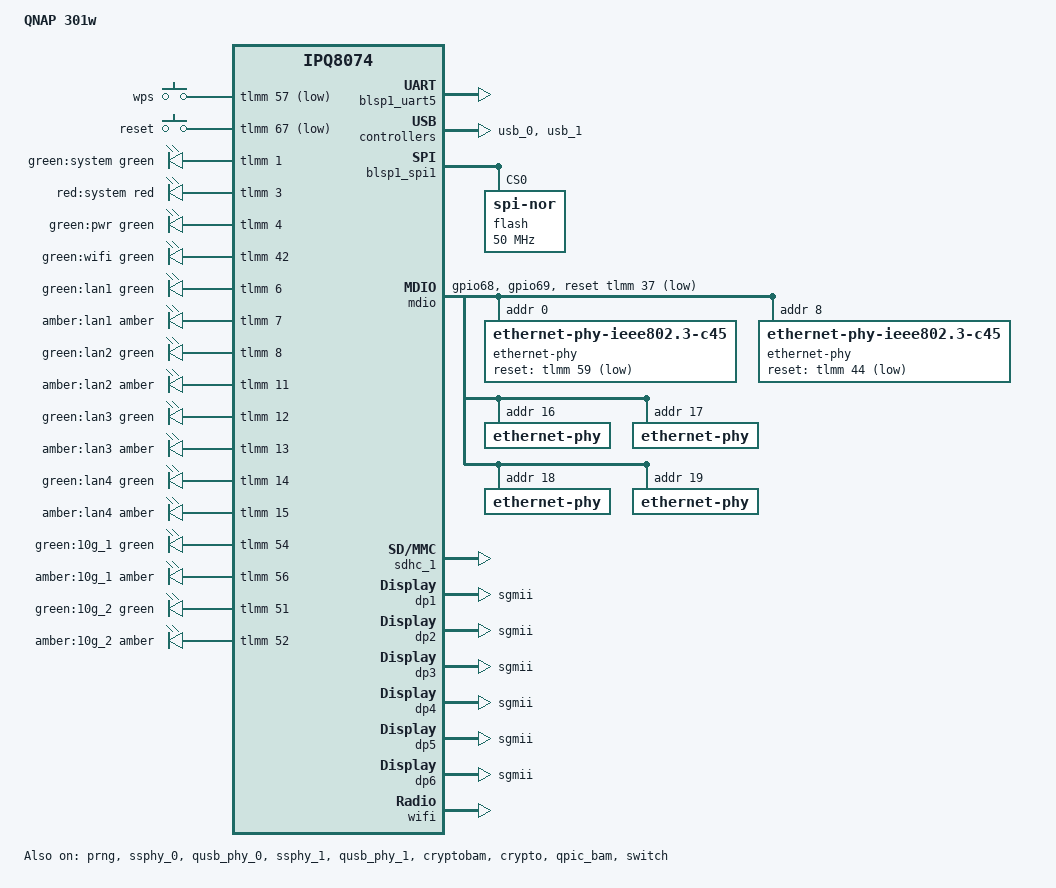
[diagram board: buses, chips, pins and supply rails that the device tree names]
// SPDX-License-Identifier: GPL-2.0-or-later OR MIT
/* Copyright (c) 2021, Dirk Buchwalder <buchwalder@posteo.de> */

/dts-v1/;

#include "ipq8074.dtsi"
#include "ipq8074-hk-cpu.dtsi"
#include "ipq8074-ess.dtsi"
#include <dt-bindings/gpio/gpio.h>
#include <dt-bindings/input/input.h>
#include <dt-bindings/leds/common.h>

/ {
	#address-cells = <2>;
	#size-cells = <2>;

	model = "QNAP 301w";
	compatible = "qnap,301w", "qcom,ipq8074";
	interrupt-parent = <&intc>;

	aliases {
		serial0 = &blsp1_uart5;
		/*
		 * Aliases as required by u-boot
		 * to patch MAC addresses
		 */
		led-boot = &led_system_red;
		led-failsafe = &led_system_red;
		led-running = &led_pwr_green;
		led-upgrade = &led_system_red;
		ethernet0 = &dp1;
		ethernet1 = &dp2;
		ethernet2 = &dp3;
		ethernet3 = &dp4;
		ethernet4 = &dp5;
		ethernet5 = &dp6;
		label-mac-device = &dp1;
	};

	chosen {
		stdout-path = "serial0:115200n8";
	};

	keys {
		compatible = "gpio-keys";

		wps {
			label = "wps";
			gpios = <&tlmm 57 GPIO_ACTIVE_LOW>;
			linux,code = <KEY_WPS_BUTTON>;
		};

		reset {
			label = "reset";
			gpios = <&tlmm 67 GPIO_ACTIVE_LOW>;
			linux,code = <KEY_RESTART>;
		};
	};

	leds {
		compatible = "gpio-leds";

		led_system_green: system-green {
			label = "green:system";
			gpios = <&tlmm 1 GPIO_ACTIVE_HIGH>;
			color = <LED_COLOR_ID_GREEN>;
		};

		led_system_red: system-red {
			label = "red:system";
			gpios = <&tlmm 3 GPIO_ACTIVE_HIGH>;
			color = <LED_COLOR_ID_RED>;
		};

		led_pwr_green: pwr-green {
			label = "green:pwr";
			gpios = <&tlmm 4 GPIO_ACTIVE_HIGH>;
			color = <LED_COLOR_ID_GREEN>;
		};

		led_wifi_green: wifi-green {
			label = "green:wifi";
			gpios = <&tlmm 42 GPIO_ACTIVE_HIGH>;
			color = <LED_COLOR_ID_GREEN>;
		};

		led_lan1_green: lan1-green {
			label = "green:lan1";
			gpios = <&tlmm 6 GPIO_ACTIVE_HIGH>;
			color = <LED_COLOR_ID_GREEN>;
		};

		led_lan1_amber: lan1-amber {
			label = "amber:lan1";
			gpios = <&tlmm 7 GPIO_ACTIVE_HIGH>;
			color = <LED_COLOR_ID_AMBER>;
		};

		led_lan2_green: lan2-green {
			label = "green:lan2";
			gpios = <&tlmm 8 GPIO_ACTIVE_HIGH>;
			color = <LED_COLOR_ID_GREEN>;
		};

		led_lan2_amber: lan2-amber {
			label = "amber:lan2";
			gpios = <&tlmm 11 GPIO_ACTIVE_HIGH>;
			color = <LED_COLOR_ID_AMBER>;
		};

		led_lan3_green: lan3-green {
			label = "green:lan3";
			gpios = <&tlmm 12 GPIO_ACTIVE_HIGH>;
			color = <LED_COLOR_ID_GREEN>;
		};

		led_lan3_amber: lan3-amber {
			label = "amber:lan3";
			gpios = <&tlmm 13 GPIO_ACTIVE_HIGH>;
			color = <LED_COLOR_ID_AMBER>;
		};

		led_lan4_green: lan4-green {
			label = "green:lan4";
			gpios = <&tlmm 14 GPIO_ACTIVE_HIGH>;
			color = <LED_COLOR_ID_GREEN>;
		};

		led_lan4_amber: lan4-amber {
			label = "amber:lan4";
			gpios = <&tlmm 15 GPIO_ACTIVE_HIGH>;
			color = <LED_COLOR_ID_AMBER>;
		};

		led_10g_1_green: 10g_1-green {
			label = "green:10g_1";
			gpios = <&tlmm 54 GPIO_ACTIVE_HIGH>;
			color = <LED_COLOR_ID_GREEN>;
		};

		led_10g_1_amber: 10g_1-amber {
			label = "amber:10g_1";
			gpios = <&tlmm 56 GPIO_ACTIVE_HIGH>;
			color = <LED_COLOR_ID_AMBER>;
		};

		led_10g_2_green: 10g_2-green {
			label = "green:10g_2";
			gpios = <&tlmm 51 GPIO_ACTIVE_HIGH>;
			color = <LED_COLOR_ID_GREEN>;
		};

		led_10g_2_amber: 10g_2-amber {
			label = "amber:10g_2";
			gpios = <&tlmm 52 GPIO_ACTIVE_HIGH>;
			color = <LED_COLOR_ID_AMBER>;
		};
	};
};

&tlmm {

	mdio_pins: mdio-pins {
		mdc {
			pins = "gpio68";
			function = "mdc";
			drive-strength = <8>;
			bias-pull-up;
		};

		mdio {
			pins = "gpio69";
			function = "mdio";
			drive-strength = <8>;
			bias-pull-up;
		};
	};

	button_pins: button_pins {
		wps_button {
			pins = "gpio57";
			function = "gpio";
			drive-strength = <8>;
			bias-pull-up;
		};

		rst_button {
			pins = "gpio67";
			function = "gpio";
			drive-strength = <8>;
			bias-pull-up;
		};
	};

	qpic_pins: qpic-pins {
			status = "disabled";
			/*disabling qpic-pins due to the leds are using all of the gpios*/
	};

	leds_pins: leds_pinmux {
		led_pwr_green {
			pins = "gpio4";
			function = "gpio";
			drive-strength = <8>;
			bias-pull-down;
		};
		led_system_green {
			pins = "gpio1";
			function = "gpio";
			drive-strength = <8>;
			bias-pull-down;
		};
		led_system_red {
			pins = "gpio3";
			function = "gpio";
			drive-strength = <8>;
			bias-pull-down;
		};
		led_lan1_green {
			pins = "gpio6";
			function = "gpio";
			drive-strength = <8>;
			bias-pull-down;
		};
		led_lan1_amber {
			pins = "gpio7";
			function = "gpio";
			drive-strength = <8>;
			bias-pull-down;
		}; 
		led_lan2_green {
			pins = "gpio8";
			function = "gpio";
			drive-strength = <8>;
			bias-pull-down;
		};
		led_lan2_amber {
			pins = "gpio11";
			function = "gpio";
			drive-strength = <8>;
			bias-pull-down;
		};
		led_lan3_green {
			pins = "gpio12";
			function = "gpio";
			drive-strength = <8>;
			bias-pull-down;
		};
		led_lan3_amber {
			pins = "gpio13";
			function = "gpio";
			drive-strength = <8>;
			bias-pull-down;
		};
		led_lan4_green {
			pins = "gpio14";
			function = "gpio";
			drive-strength = <8>;
			bias-pull-down;
		};
		led_lan4_amber {
			pins = "gpio15";
			function = "gpio";
			drive-strength = <8>;
			bias-pull-down;
		};
		led_10g_1_green {
			pins = "gpio54";
			function = "gpio";
			drive-strength = <8>;
			bias-pull-down;
		};
		led_10g_1_amber {
			pins = "gpio56";
			function = "gpio";
			drive-strength = <8>;
			bias-pull-down;
		};
		led_10g_2_green {
			pins = "gpio51";
			function = "gpio";
			drive-strength = <8>;
			bias-pull-down;
		};
		led_10g_2_amber {
			pins = "gpio52";
			function = "gpio";
			drive-strength = <8>;
			bias-pull-down;
		};
		led_wifi_green {
			pins = "gpio42";
			function = "gpio";
			drive-strength = <8>;
			bias-pull-down;
		};
    };
};

&blsp1_uart5 {
	status = "okay";
};

&prng {
	status = "okay";
};

&ssphy_0 {
	status = "okay";
};

&qusb_phy_0 {
	status = "okay";
};

&ssphy_1 {
	status = "okay";
};

&qusb_phy_1 {
	status = "okay";
};

&usb_0 {
	status = "okay";
};

&usb_1 {
	status = "okay";
};

&cryptobam {
	status = "okay";
};

&crypto {
	status = "okay";
};

&qpic_bam {
	status = "okay";
};

&blsp1_spi1 { /* BLSP1 QUP1 */
	pinctrl-0 = <&spi_0_pins>;
	pinctrl-names = "default";
	cs-gpios = <0>;
	status = "okay";

	flash@0 {
		#address-cells = <1>;
		#size-cells = <1>;
		reg = <0>;
		compatible = "jedec,spi-nor";
		spi-max-frequency = <50000000>;

		partitions {
			compatible = "qcom,smem-part";
		};
	};
};

&mdio {
	status = "okay";

	pinctrl-0 = <&mdio_pins>;
	pinctrl-names = "default";
	reset-gpios = <&tlmm 37 GPIO_ACTIVE_LOW>;

	ethernet-phy@0 {
		compatible ="ethernet-phy-ieee802.3-c45";
		reg = <0>;
		reset-gpios = <&tlmm 59 GPIO_ACTIVE_LOW>;
	};

	ethernet-phy@8 {
		compatible ="ethernet-phy-ieee802.3-c45";
		reg = <8>;
		reset-gpios = <&tlmm 44 GPIO_ACTIVE_LOW>;
	};

	ethernet-phy@16 {
		reg = <16>;
	};

	ethernet-phy@17 {
		reg = <17>;
	};

	ethernet-phy@18 {
		reg = <18>;
	};

	ethernet-phy@19 {
		reg = <19>;
	};

};

&sdhc_1 {
		/* According to the stock dts from the QNAP gpl drop
		 * the emmc has a problem with the hs400 > hs200 speed switch.
		 * But at the momment it doesn't seems possible to run that card in hs200 mode,
		 * it doesn't get recognized without the hs400 mode.
		 * Unfortunately it's not stable in hs400 mode so reduce the speed to mmc highspeed.
		*/
		no-1-8-v;
		cap-sd-highspeed;
		cap-mmc-highspeed;
		max-frequency   = <5000000>;
		vqmmc-supply = <&ldo11>;
		status = "okay";
};

&switch {
	status = "okay";

	switch_cpu_bmp = <0x1>;  /* cpu port bitmap */
	switch_lan_bmp = <0x3e>; /* lan port bitmap */
	switch_wan_bmp = <0xc0>; /* wan port bitmap */
	switch_mac_mode = <0x0>; /* mac mode for uniphy instance0*/
	switch_mac_mode1 = <0xd>; /* mac mode for uniphy instance1*/
	switch_mac_mode2 = <0xd>; /* mac mode for uniphy instance2*/
	bm_tick_mode = <0>; /* bm tick mode */
	tm_tick_mode = <0>; /* tm tick mode */

	qcom,port_phyinfo {
		port@0 {
			port_id = <1>;
			phy_address = <16>;
		};
		port@1 {
			port_id = <2>;
			phy_address = <17>;
		};
		port@2 {
			port_id = <3>;
			phy_address = <18>;
		};
		port@3 {
			port_id = <4>;
			phy_address = <19>;
		};
		port@4 {
			port_id = <5>;
			phy_address = <8>;
			compatible = "ethernet-phy-ieee802.3-c45";
			ethernet-phy-ieee802.3-c45;
		};
		port@5 {
			port_id = <6>;
			phy_address = <0>;
			compatible = "ethernet-phy-ieee802.3-c45";
			ethernet-phy-ieee802.3-c45;
		};
	};

	port_scheduler_resource {
		port@0 {
			port_id = <0>;
			ucast_queue = <0 143>;
			mcast_queue = <256 271>;
			l0sp = <0 35>;
			l0cdrr = <0 47>;
			l0edrr = <0 47>;
			l1cdrr = <0 7>;
			l1edrr = <0 7>;
		};
		port@1 {
			port_id = <1>;
			ucast_queue = <144 159>;
			mcast_queue = <272 275>;
			l0sp = <36 39>;
			l0cdrr = <48 63>;
			l0edrr = <48 63>;
			l1cdrr = <8 11>;
			l1edrr = <8 11>;
		};
		port@2 {
			port_id = <2>;
			ucast_queue = <160 175>;
			mcast_queue = <276 279>;
			l0sp = <40 43>;
			l0cdrr = <64 79>;
			l0edrr = <64 79>;
			l1cdrr = <12 15>;
			l1edrr = <12 15>;
		};
		port@3 {
			port_id = <3>;
			ucast_queue = <176 191>;
			mcast_queue = <280 283>;
			l0sp = <44 47>;
			l0cdrr = <80 95>;
			l0edrr = <80 95>;
			l1cdrr = <16 19>;
			l1edrr = <16 19>;
		};
		port@4 {
			port_id = <4>;
			ucast_queue = <192 207>;
			mcast_queue = <284 287>;
			l0sp = <48 51>;
			l0cdrr = <96 111>;
			l0edrr = <96 111>;
			l1cdrr = <20 23>;
			l1edrr = <20 23>;
		};
		port@5 {
			port_id = <5>;
			ucast_queue = <208 223>;
			mcast_queue = <288 291>;
			l0sp = <52 55>;
			l0cdrr = <112 127>;
			l0edrr = <112 127>;
			l1cdrr = <24 27>;
			l1edrr = <24 27>;
		};
		port@6 {
			port_id = <6>;
			ucast_queue = <224 239>;
			mcast_queue = <292 295>;
			l0sp = <56 59>;
			l0cdrr = <128 143>;
			l0edrr = <128 143>;
			l1cdrr = <28 31>;
			l1edrr = <28 31>;
		};
		port@7 {
			port_id = <7>;
			ucast_queue = <240 255>;
			mcast_queue = <296 299>;
			l0sp = <60 63>;
			l0cdrr = <144 159>;
			l0edrr = <144 159>;
			l1cdrr = <32 35>;
			l1edrr = <32 35>;
		};
	};
	port_scheduler_config {
		port@0 {
			port_id = <0>;
			l1scheduler {
				group@0 {
					sp = <0 1>; /*L0 SPs*/
					/*cpri cdrr epri edrr*/
					cfg = <0 0 0 0>;
				};
			};
			l0scheduler {
				group@0 {
					/*unicast queues*/
					ucast_queue = <0 4 8>;
					/*multicast queues*/
					mcast_queue = <256 260>;
					/*sp cpri cdrr epri edrr*/
					cfg = <0 0 0 0 0>;
				};
				group@1 {
					ucast_queue = <1 5 9>;
					mcast_queue = <257 261>;
					cfg = <0 1 1 1 1>;
				};
				group@2 {
					ucast_queue = <2 6 10>;
					mcast_queue = <258 262>;
					cfg = <0 2 2 2 2>;
				};
				group@3 {
					ucast_queue = <3 7 11>;
					mcast_queue = <259 263>;
					cfg = <0 3 3 3 3>;
				};
			};
		};
		port@1 {
			port_id = <1>;
			l1scheduler {
				group@0 {
					sp = <36>;
					cfg = <0 8 0 8>;
				};
				group@1 {
					sp = <37>;
					cfg = <1 9 1 9>;
				};
			};
			l0scheduler {
				group@0 {
					ucast_queue = <144>;
					ucast_loop_pri = <16>;
					mcast_queue = <272>;
					mcast_loop_pri = <4>;
					cfg = <36 0 48 0 48>;
				};
			};
		};
		port@2 {
			port_id = <2>;
			l1scheduler {
				group@0 {
					sp = <40>;
					cfg = <0 12 0 12>;
				};
				group@1 {
					sp = <41>;
					cfg = <1 13 1 13>;
				};
			};
			l0scheduler {
				group@0 {
					ucast_queue = <160>;
					ucast_loop_pri = <16>;
					mcast_queue = <276>;
					mcast_loop_pri = <4>;
					cfg = <40 0 64 0 64>;
				};
			};
		};
		port@3 {
			port_id = <3>;
			l1scheduler {
				group@0 {
					sp = <44>;
					cfg = <0 16 0 16>;
				};
				group@1 {
					sp = <45>;
					cfg = <1 17 1 17>;
				};
			};
			l0scheduler {
				group@0 {
					ucast_queue = <176>;
					ucast_loop_pri = <16>;
					mcast_queue = <280>;
					mcast_loop_pri = <4>;
					cfg = <44 0 80 0 80>;
				};
			};
		};
		port@4 {
			port_id = <4>;
			l1scheduler {
				group@0 {
					sp = <48>;
					cfg = <0 20 0 20>;
				};
				group@1 {
					sp = <49>;
					cfg = <1 21 1 21>;
				};
			};
			l0scheduler {
				group@0 {
					ucast_queue = <192>;
					ucast_loop_pri = <16>;
					mcast_queue = <284>;
					mcast_loop_pri = <4>;
					cfg = <48 0 96 0 96>;
				};
			};
		};
		port@5 {
			port_id = <5>;
			l1scheduler {
				group@0 {
					sp = <52>;
					cfg = <0 24 0 24>;
				};
				group@1 {
					sp = <53>;
					cfg = <1 25 1 25>;
				};
			};
			l0scheduler {
				group@0 {
					ucast_queue = <208>;
					ucast_loop_pri = <16>;
					mcast_queue = <288>;
					mcast_loop_pri = <4>;
					cfg = <52 0 112 0 112>;
				};
			};
		};
		port@6 {
			port_id = <6>;
			l1scheduler {
				group@0 {
					sp = <56>;
					cfg = <0 28 0 28>;
				};
				group@1 {
					sp = <57>;
					cfg = <1 29 1 29>;
				};
			};
			l0scheduler {
				group@0 {
					ucast_queue = <224>;
					ucast_loop_pri = <16>;
					mcast_queue = <292>;
					mcast_loop_pri = <4>;
					cfg = <56 0 128 0 128>;
				};
			};
		};
		port@7 {
			port_id = <7>;
			l1scheduler {
				group@0 {
					sp = <60>;
					cfg = <0 32 0 32>;
				};
				group@1 {
					sp = <61>;
					cfg = <1 33 1 33>;
				};
			};
			l0scheduler {
				group@0 {
					ucast_queue = <240>;
					ucast_loop_pri = <16>;
					mcast_queue = <296>;
					cfg = <60 0 144 0 144>;
				};
			};
		};
	};
};

&edma {
	status = "okay";
};

&soc {
	dp1: dp1 {
		device_type = "network";
		compatible = "qcom,nss-dp";
		qcom,id = <1>;
		reg = <0x3a001000 0x200>;
		qcom,mactype = <0>;
		local-mac-address = [000000000000];
		qcom,link-poll = <1>;
		qcom,phy-mdio-addr = <16>;
		phy-mode = "sgmii";
		mdio-bus = <&mdio>;
	};

	dp2: dp2 {
		device_type = "network";
		compatible = "qcom,nss-dp";
		qcom,id = <2>;
		reg = <0x3a001200 0x200>;
		qcom,mactype = <0>;
		local-mac-address = [000000000000];
		qcom,link-poll = <1>;
		qcom,phy-mdio-addr = <17>;
		phy-mode = "sgmii";
		mdio-bus = <&mdio>;
	};

	dp3: dp3 {
		device_type = "network";
		compatible = "qcom,nss-dp";
		qcom,id = <3>;
		reg = <0x3a001400 0x200>;
		qcom,mactype = <0>;
		local-mac-address = [000000000000];
		qcom,link-poll = <1>;
		qcom,phy-mdio-addr = <18>;
		phy-mode = "sgmii";
		mdio-bus = <&mdio>;
	};

	dp4: dp4 {
		device_type = "network";
		compatible = "qcom,nss-dp";
		qcom,id = <4>;
		reg = <0x3a001600 0x200>;
		qcom,mactype = <0>;
		local-mac-address = [000000000000];
		qcom,link-poll = <1>;
		qcom,phy-mdio-addr = <19>;
		phy-mode = "sgmii";
		mdio-bus = <&mdio>;
	};

	dp5: dp5 {
		device_type = "network";
		compatible = "qcom,nss-dp";
		qcom,id = <5>;
		reg = <0x3a001800 0x200>;
		qcom,mactype = <1>;
		local-mac-address = [000000000000];
		qcom,link-poll = <1>;
		qcom,phy-mdio-addr = <8>;
		phy-mode = "sgmii";
		mdio-bus = <&mdio>;
	};

	dp6: dp6 {
		device_type = "network";
		compatible = "qcom,nss-dp";
		qcom,id = <6>;
		reg = <0x3a007000 0x3fff>;
		qcom,mactype = <1>;
		local-mac-address = [000000000000];
		qcom,link-poll = <1>;
		qcom,phy-mdio-addr = <0>;
		phy-mode = "sgmii";
		mdio-bus = <&mdio>;
	};
};

&wifi {
	status = "okay";
	/* using board_id 0xff is intentionally
	 * as the stock firmware is also using this default board_id
	 */
	qcom,board_id = <0xff>;
	qcom,ath11k-calibration-variant = "QNAP-301w";
};
